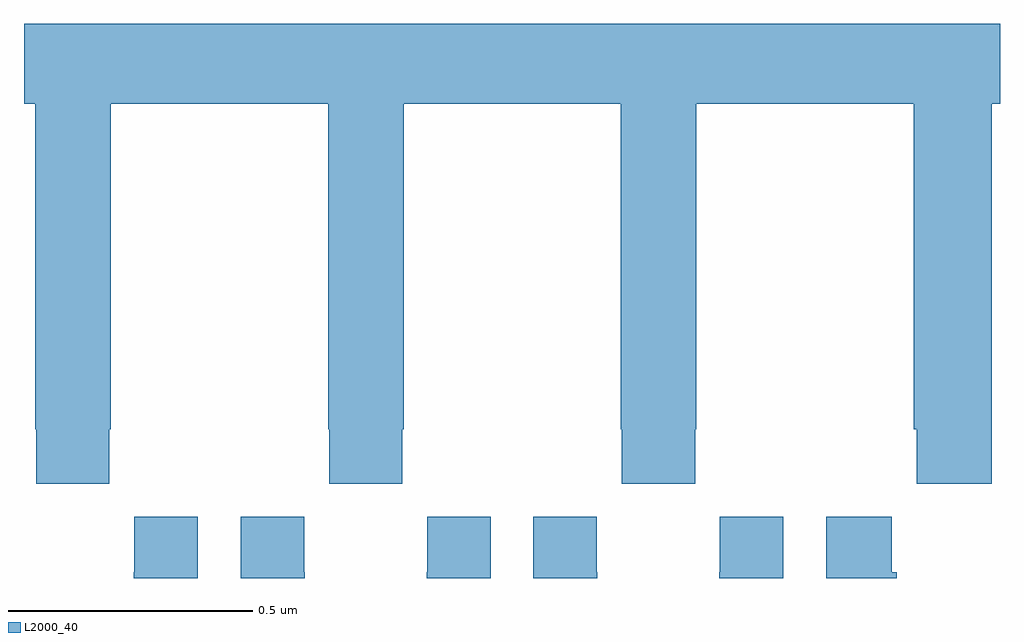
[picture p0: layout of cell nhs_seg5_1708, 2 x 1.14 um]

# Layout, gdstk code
import gdstk
lib = gdstk.Library(unit=1e-6, precision=1e-09)
def P(c, l, *ps):  # polygons
    for p in ps: c.add(gdstk.Polygon(p, *l))
L2000_40 = (2000, 40)

nhs_seg5_1708 = lib.new_cell('nhs_seg5_1708')
P(nhs_seg5_1708, L2000_40, [(134.175,844.105),(134.178,844.105),(134.178,844.772),(134.623,844.772),(134.623,844.105),(134.625,844.105),(134.625,843.993),(134.775,843.993),(134.775,844.105),(134.778,844.105),(134.778,844.772),(135.223,844.772),(135.223,844.105),(135.225,844.105),(135.225,843.993),(135.375,843.993),(135.375,844.105),(135.378,844.105),(135.378,844.772),(135.823,844.772),(135.823,844.105),(135.829,844.105),(135.829,843.993),(135.983,843.993),(135.983,844.772),(136,844.772),(136,844.936),(134,844.936),(134,844.772),(134.023,844.772),(134.023,844.105),(134.025,844.105),(134.025,843.993),(134.175,843.993)],
  [(134.356,843.925),(134.226,843.925),(134.226,843.812),(134.225,843.812),(134.225,843.799),(134.356,843.799)],
  [(134.575,843.812),(134.574,843.812),(134.574,843.925),(134.444,843.925),(134.444,843.799),(134.575,843.799)],
  [(134.956,843.925),(134.826,843.925),(134.826,843.812),(134.825,843.812),(134.825,843.799),(134.956,843.799)],
  [(135.175,843.812),(135.174,843.812),(135.174,843.925),(135.044,843.925),(135.044,843.799),(135.175,843.799)],
  [(135.556,843.925),(135.426,843.925),(135.426,843.812),(135.425,843.812),(135.425,843.799),(135.556,843.799)],
  [(135.788,843.812),(135.778,843.812),(135.778,843.925),(135.644,843.925),(135.644,843.799),(135.788,843.799)])

lib.write_gds('nhs_seg5_1708.gds')
